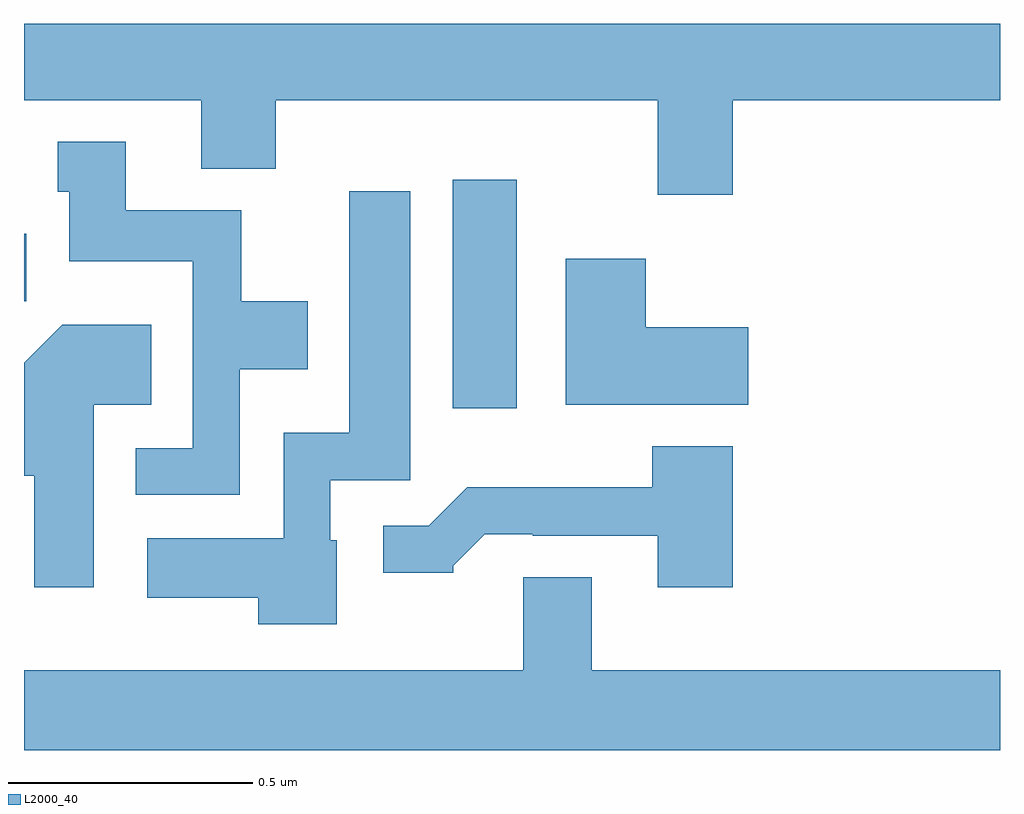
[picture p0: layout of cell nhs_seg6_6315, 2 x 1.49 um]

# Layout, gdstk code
import gdstk
lib = gdstk.Library(unit=1e-6, precision=1e-09)
def R(c, l, rs):  # rectangles x0, y0, x1, y1
    for r in rs: c.add(gdstk.rectangle(r[:2], r[2:], *l))
def P(c, l, *ps):  # polygons
    for p in ps: c.add(gdstk.Polygon(p, *l))
L2000_40 = (2000, 40)

nhs_seg6_6315 = lib.new_cell('nhs_seg6_6315')
R(nhs_seg6_6315, L2000_40, [(194.879,938.712,195.01,939.181), (194,938.932,194.005,939.07)])
P(nhs_seg6_6315, L2000_40, [(195.452,939.344),(196,939.344),(196,939.5),(194,939.5),(194,939.344),(194.363,939.344),(194.363,939.203),(194.516,939.203),(194.516,939.344),(195.299,939.344),(195.299,939.15),(195.452,939.15)],
  [(194.442,938.792),(194.581,938.792),(194.581,938.932),(194.445,938.932),(194.445,939.118),(194.209,939.118),(194.209,939.259),(194.069,939.259),(194.069,939.156),(194.093,939.156),(194.093,939.014),(194.346,939.014),(194.346,938.631),(194.229,938.631),(194.229,938.535),(194.442,938.535)],
  [(194.641,938.442),(194.628,938.442),(194.628,938.565),(194.791,938.565),(194.791,939.157),(194.666,939.157),(194.666,938.662),(194.532,938.662),(194.532,938.446),(194.253,938.446),(194.253,938.324),(194.48,938.324),(194.48,938.27),(194.641,938.27)],
  [(195.484,938.878),(195.274,938.878),(195.274,939.019),(195.11,939.019),(195.11,938.72),(195.484,938.72)],
  [(194.143,938.72),(194.261,938.72),(194.261,938.884),(194.078,938.884),(194,938.806),(194,938.574),(194.021,938.574),(194.021,938.346),(194.143,938.346)],
  [(195.452,938.635),(195.287,938.635),(195.287,938.551),(194.908,938.551),(194.829,938.472),(194.736,938.472),(194.736,938.375),(194.88,938.375),(194.88,938.39),(194.944,938.454),(195.043,938.454),(195.043,938.451),(195.299,938.451),(195.299,938.346),(195.452,938.346)],
  [(196,938.176),(195.163,938.176),(195.163,938.366),(195.023,938.366),(195.023,938.176),(194,938.176),(194,938.012),(196,938.012)])

lib.write_gds('nhs_seg6_6315.gds')
